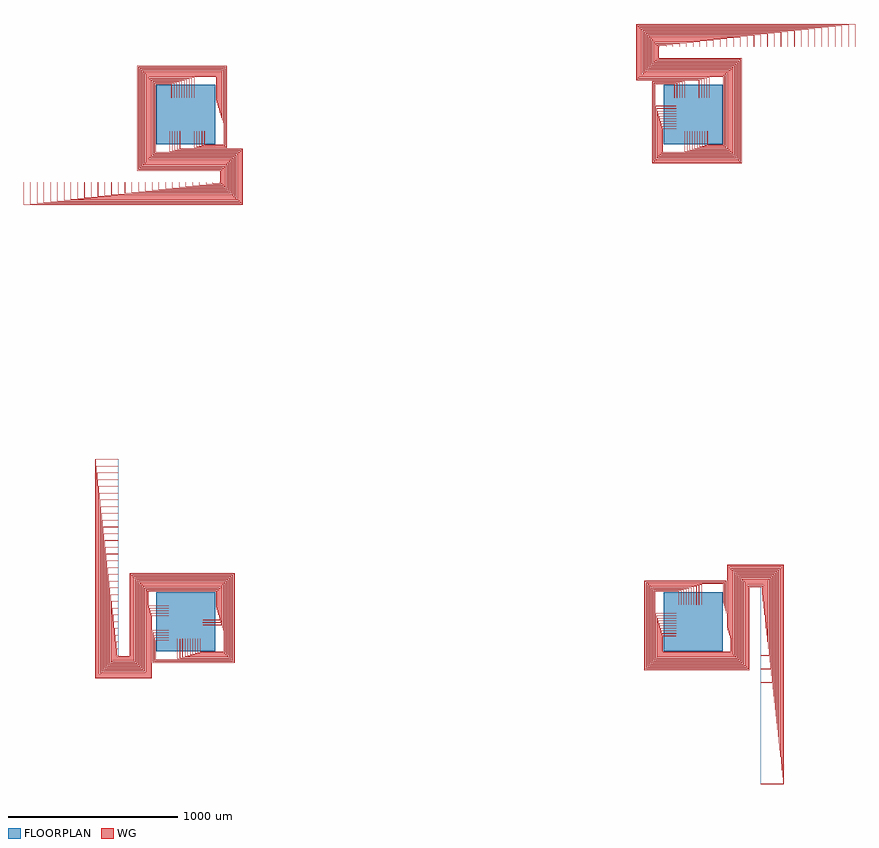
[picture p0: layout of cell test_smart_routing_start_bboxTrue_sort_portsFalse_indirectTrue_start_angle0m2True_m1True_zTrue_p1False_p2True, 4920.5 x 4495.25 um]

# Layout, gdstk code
import gdstk
lib = gdstk.Library(unit=1e-6, precision=1e-09)
def R(c, l, rs):  # rectangles x0, y0, x1, y1
    for r in rs: c.add(gdstk.rectangle(r[:2], r[2:], *l))
def P(c, l, *ps):  # polygons
    for p in ps: c.add(gdstk.Polygon(p, *l))
WG = (1, 0)
FLOORPLAN = (10, 0)

test_smart_routing_start = lib.new_cell('test_smart_routing_start_bboxTrue_sort_portsFalse_indirectTrue_start_angle0m2True_m1True_zTrue_p1False_p2True')
P(test_smart_routing_start, WG, [(2757.5,2712.5),(2757.5,3197.5),(2950.25,3197.5),(2950.25,3100),(2949.75,3100),(2949.75,3197),(2758,3197),(2758,2713),(3287,2713),(3287,3332),(2795.25,3332),(2795.25,3404.5),(2800.25,3404.5),(2800.25,3400),(2799.75,3400),(2799.75,3404),(2795.75,3404),(2795.75,3332.5),(3287.5,3332.5),(3287.5,2712.5)],
  [(2762,2717),(2762,3193),(2935.25,3193),(2935.25,3100),(2934.75,3100),(2934.75,3192.5),(2762.5,3192.5),(2762.5,2717.5),(3282.5,2717.5),(3282.5,3327.5),(2790.75,3327.5),(2790.75,3409),(2840.25,3409),(2840.25,3400),(2839.75,3400),(2839.75,3408.5),(2791.25,3408.5),(2791.25,3328),(3283,3328),(3283,2717)],
  [(2766.5,2721.5),(2766.5,3188.5),(2920.25,3188.5),(2920.25,3100),(2919.75,3100),(2919.75,3188),(2767,3188),(2767,2722),(3278,2722),(3278,3323),(2786.25,3323),(2786.25,3413.5),(2880.25,3413.5),(2880.25,3400),(2879.75,3400),(2879.75,3413),(2786.75,3413),(2786.75,3323.5),(3278.5,3323.5),(3278.5,2721.5)],
  [(2771,2726),(2771,3184),(2905.25,3184),(2905.25,3100),(2904.75,3100),(2904.75,3183.5),(2771.5,3183.5),(2771.5,2726.5),(3273.5,2726.5),(3273.5,3318.5),(2781.75,3318.5),(2781.75,3418),(2920.25,3418),(2920.25,3400),(2919.75,3400),(2919.75,3417.5),(2782.25,3417.5),(2782.25,3319),(3274,3319),(3274,2726)],
  [(2775.5,2730.5),(2775.5,3179.5),(2890.25,3179.5),(2890.25,3100),(2889.75,3100),(2889.75,3179),(2776,3179),(2776,2731),(3269,2731),(3269,3314),(2777.25,3314),(2777.25,3422.5),(2960.25,3422.5),(2960.25,3400),(2959.75,3400),(2959.75,3422),(2777.75,3422),(2777.75,3314.5),(3269.5,3314.5),(3269.5,2730.5)],
  [(2780,2735),(2780,3050.25),(2900,3050.25),(2900,3049.75),(2780.5,3049.75),(2780.5,2735.5),(3264.5,2735.5),(3264.5,3309.5),(2772.75,3309.5),(2772.75,3427),(3000.25,3427),(3000.25,3400),(2999.75,3400),(2999.75,3426.5),(2773.25,3426.5),(2773.25,3310),(3265,3310),(3265,2735)],
  [(2784.5,2739.5),(2784.5,3035.25),(2900,3035.25),(2900,3034.75),(2785,3034.75),(2785,2740),(3260,2740),(3260,3305),(2768.25,3305),(2768.25,3431.5),(3040.25,3431.5),(3040.25,3400),(3039.75,3400),(3039.75,3431),(2768.75,3431),(2768.75,3305.5),(3260.5,3305.5),(3260.5,2739.5)],
  [(2789,2744),(2789,3020.25),(2900,3020.25),(2900,3019.75),(2789.5,3019.75),(2789.5,2744.5),(3255.5,2744.5),(3255.5,3300.5),(2763.75,3300.5),(2763.75,3436),(3080.25,3436),(3080.25,3400),(3079.75,3400),(3079.75,3435.5),(2764.25,3435.5),(2764.25,3301),(3256,3301),(3256,2744)],
  [(2793.5,2748.5),(2793.5,3005.25),(2900,3005.25),(2900,3004.75),(2794,3004.75),(2794,2749),(3251,2749),(3251,3296),(2759.25,3296),(2759.25,3440.5),(3120.25,3440.5),(3120.25,3400),(3119.75,3400),(3119.75,3440),(2759.75,3440),(2759.75,3296.5),(3251.5,3296.5),(3251.5,2748.5)],
  [(2798,2753),(2798,2990.25),(2900,2990.25),(2900,2989.75),(2798.5,2989.75),(2798.5,2753.5),(3246.5,2753.5),(3246.5,3291.5),(2754.75,3291.5),(2754.75,3445),(3160.25,3445),(3160.25,3400),(3159.75,3400),(3159.75,3444.5),(2755.25,3444.5),(2755.25,3292),(3247,3292),(3247,2753)],
  [(2802.5,2757.5),(2802.5,2975.25),(2900,2975.25),(2900,2974.75),(2803,2974.75),(2803,2758),(3242,2758),(3242,3287),(2750.25,3287),(2750.25,3449.5),(3200.25,3449.5),(3200.25,3400),(3199.75,3400),(3199.75,3449),(2750.75,3449),(2750.75,3287.5),(3242.5,3287.5),(3242.5,2757.5)],
  [(2807,2762),(2807,2960.25),(2900,2960.25),(2900,2959.75),(2807.5,2959.75),(2807.5,2762.5),(3237.5,2762.5),(3237.5,3282.5),(2745.75,3282.5),(2745.75,3454),(3240.25,3454),(3240.25,3400),(3239.75,3400),(3239.75,3453.5),(2746.25,3453.5),(2746.25,3283),(3238,3283),(3238,2762)],
  [(2811.5,2766.5),(2811.5,2945.25),(2900,2945.25),(2900,2944.75),(2812,2944.75),(2812,2767),(3233,2767),(3233,3278),(2741.25,3278),(2741.25,3458.5),(3280.25,3458.5),(3280.25,3400),(3279.75,3400),(3279.75,3458),(2741.75,3458),(2741.75,3278.5),(3233.5,3278.5),(3233.5,2766.5)],
  [(2816,2771),(2816,2930.25),(2900,2930.25),(2900,2929.75),(2816.5,2929.75),(2816.5,2771.5),(3228.5,2771.5),(3228.5,3273.5),(2736.75,3273.5),(2736.75,3463),(3320.25,3463),(3320.25,3400),(3319.75,3400),(3319.75,3462.5),(2737.25,3462.5),(2737.25,3274),(3229,3274),(3229,2771)],
  [(2820.5,2775.5),(2820.5,2915.25),(2900,2915.25),(2900,2914.75),(2821,2914.75),(2821,2776),(3224,2776),(3224,3269),(2732.25,3269),(2732.25,3467.5),(3360.25,3467.5),(3360.25,3400),(3359.75,3400),(3359.75,3467),(2732.75,3467),(2732.75,3269.5),(3224.5,3269.5),(3224.5,2775.5)],
  [(2949.75,2780),(2949.75,2900),(2950.25,2900),(2950.25,2780.5),(3219.5,2780.5),(3219.5,3264.5),(2727.75,3264.5),(2727.75,3472),(3400.25,3472),(3400.25,3400),(3399.75,3400),(3399.75,3471.5),(2728.25,3471.5),(2728.25,3265),(3220,3265),(3220,2780)],
  [(2964.75,2784.5),(2964.75,2900),(2965.25,2900),(2965.25,2785),(3215,2785),(3215,3260),(2723.25,3260),(2723.25,3476.5),(3440.25,3476.5),(3440.25,3400),(3439.75,3400),(3439.75,3476),(2723.75,3476),(2723.75,3260.5),(3215.5,3260.5),(3215.5,2784.5)],
  [(2979.75,2789),(2979.75,2900),(2980.25,2900),(2980.25,2789.5),(3210.5,2789.5),(3210.5,3255.5),(2718.75,3255.5),(2718.75,3481),(3480.25,3481),(3480.25,3400),(3479.75,3400),(3479.75,3480.5),(2719.25,3480.5),(2719.25,3256),(3211,3256),(3211,2789)],
  [(2994.75,2793.5),(2994.75,2900),(2995.25,2900),(2995.25,2794),(3206,2794),(3206,3251),(2714.25,3251),(2714.25,3485.5),(3520.25,3485.5),(3520.25,3400),(3519.75,3400),(3519.75,3485),(2714.75,3485),(2714.75,3251.5),(3206.5,3251.5),(3206.5,2793.5)],
  [(3009.75,2798),(3009.75,2900),(3010.25,2900),(3010.25,2798.5),(3201.5,2798.5),(3201.5,3246.5),(2709.75,3246.5),(2709.75,3490),(3560.25,3490),(3560.25,3400),(3559.75,3400),(3559.75,3489.5),(2710.25,3489.5),(2710.25,3247),(3202,3247),(3202,2798)],
  [(3024.75,2802.5),(3024.75,2900),(3025.25,2900),(3025.25,2803),(3197,2803),(3197,3242),(2705.25,3242),(2705.25,3494.5),(3600.25,3494.5),(3600.25,3400),(3599.75,3400),(3599.75,3494),(2705.75,3494),(2705.75,3242.5),(3197.5,3242.5),(3197.5,2802.5)],
  [(3039.75,2807),(3039.75,2900),(3040.25,2900),(3040.25,2807.5),(3192.5,2807.5),(3192.5,3237.5),(2700.75,3237.5),(2700.75,3499),(3640.25,3499),(3640.25,3400),(3639.75,3400),(3639.75,3498.5),(2701.25,3498.5),(2701.25,3238),(3193,3238),(3193,2807)],
  [(3054.75,2811.5),(3054.75,2900),(3055.25,2900),(3055.25,2812),(3188,2812),(3188,3233),(2696.25,3233),(2696.25,3503.5),(3680.25,3503.5),(3680.25,3400),(3679.75,3400),(3679.75,3503),(2696.75,3503),(2696.75,3233.5),(3188.5,3233.5),(3188.5,2811.5)],
  [(3069.75,2816),(3069.75,2900),(3070.25,2900),(3070.25,2816.5),(3183.5,2816.5),(3183.5,3228.5),(2691.75,3228.5),(2691.75,3508),(3720.25,3508),(3720.25,3400),(3719.75,3400),(3719.75,3507.5),(2692.25,3507.5),(2692.25,3229),(3184,3229),(3184,2816)],
  [(3084.75,2820.5),(3084.75,2900),(3085.25,2900),(3085.25,2821),(3179,2821),(3179,3224),(2687.25,3224),(2687.25,3512.5),(3760.25,3512.5),(3760.25,3400),(3759.75,3400),(3759.75,3512),(2687.75,3512),(2687.75,3224.5),(3179.5,3224.5),(3179.5,2820.5)],
  [(3034.75,3100),(3034.75,3201.5),(2664.75,3201.5),(2664.75,3535),(3960.25,3535),(3960.25,3400),(3959.75,3400),(3959.75,3534.5),(2665.25,3534.5),(2665.25,3202),(3035.25,3202),(3035.25,3100)],
  [(3049.75,3100),(3049.75,3206),(2669.25,3206),(2669.25,3530.5),(3920.25,3530.5),(3920.25,3400),(3919.75,3400),(3919.75,3530),(2669.75,3530),(2669.75,3206.5),(3050.25,3206.5),(3050.25,3100)],
  [(3064.75,3100),(3064.75,3210.5),(2673.75,3210.5),(2673.75,3526),(3880.25,3526),(3880.25,3400),(3879.75,3400),(3879.75,3525.5),(2674.25,3525.5),(2674.25,3211),(3065.25,3211),(3065.25,3100)],
  [(3079.75,3100),(3079.75,3215),(2678.25,3215),(2678.25,3521.5),(3840.25,3521.5),(3840.25,3400),(3839.75,3400),(3839.75,3521),(2678.75,3521),(2678.75,3215.5),(3080.25,3215.5),(3080.25,3100)],
  [(3094.75,3100),(3094.75,3219.5),(2682.75,3219.5),(2682.75,3517),(3800.25,3517),(3800.25,3400),(3799.75,3400),(3799.75,3516.5),(2683.25,3516.5),(2683.25,3220),(3095.25,3220),(3095.25,3100)],
  [(199.75,2595.5),(199.75,2600),(200.25,2600),(200.25,2596),(204.25,2596),(204.25,2667.5),(-287.5,2667.5),(-287.5,3287.5),(242.5,3287.5),(242.5,2802.5),(49.75,2802.5),(49.75,2900),(50.25,2900),(50.25,2803),(242,2803),(242,3287),(-287,3287),(-287,2668),(204.75,2668),(204.75,2595.5)],
  [(159.75,2591),(159.75,2600),(160.25,2600),(160.25,2591.5),(208.75,2591.5),(208.75,2672),(-283,2672),(-283,3283),(238,3283),(238,2807),(64.75,2807),(64.75,2900),(65.25,2900),(65.25,2807.5),(237.5,2807.5),(237.5,3282.5),(-282.5,3282.5),(-282.5,2672.5),(209.25,2672.5),(209.25,2591)],
  [(119.75,2586.5),(119.75,2600),(120.25,2600),(120.25,2587),(213.25,2587),(213.25,2676.5),(-278.5,2676.5),(-278.5,3278.5),(233.5,3278.5),(233.5,2811.5),(79.75,2811.5),(79.75,2900),(80.25,2900),(80.25,2812),(233,2812),(233,3278),(-278,3278),(-278,2677),(213.75,2677),(213.75,2586.5)],
  [(79.75,2582),(79.75,2600),(80.25,2600),(80.25,2582.5),(217.75,2582.5),(217.75,2681),(-274,2681),(-274,3274),(229,3274),(229,2816),(94.75,2816),(94.75,2900),(95.25,2900),(95.25,2816.5),(228.5,2816.5),(228.5,3273.5),(-273.5,3273.5),(-273.5,2681.5),(218.25,2681.5),(218.25,2582)],
  [(39.75,2577.5),(39.75,2600),(40.25,2600),(40.25,2578),(222.25,2578),(222.25,2685.5),(-269.5,2685.5),(-269.5,3269.5),(224.5,3269.5),(224.5,2820.5),(109.75,2820.5),(109.75,2900),(110.25,2900),(110.25,2821),(224,2821),(224,3269),(-269,3269),(-269,2686),(222.75,2686),(222.75,2577.5)],
  [(-0.25,2573),(-0.25,2600),(0.25,2600),(0.25,2573.5),(226.75,2573.5),(226.75,2690),(-265,2690),(-265,3265),(220,3265),(220,2949.75),(100,2949.75),(100,2950.25),(219.5,2950.25),(219.5,3264.5),(-264.5,3264.5),(-264.5,2690.5),(227.25,2690.5),(227.25,2573)],
  [(-40.25,2568.5),(-40.25,2600),(-39.75,2600),(-39.75,2569),(231.25,2569),(231.25,2694.5),(-260.5,2694.5),(-260.5,3260.5),(215.5,3260.5),(215.5,2964.75),(100,2964.75),(100,2965.25),(215,2965.25),(215,3260),(-260,3260),(-260,2695),(231.75,2695),(231.75,2568.5)],
  [(-80.25,2564),(-80.25,2600),(-79.75,2600),(-79.75,2564.5),(235.75,2564.5),(235.75,2699),(-256,2699),(-256,3256),(211,3256),(211,2979.75),(100,2979.75),(100,2980.25),(210.5,2980.25),(210.5,3255.5),(-255.5,3255.5),(-255.5,2699.5),(236.25,2699.5),(236.25,2564)],
  [(-120.25,2559.5),(-120.25,2600),(-119.75,2600),(-119.75,2560),(240.25,2560),(240.25,2703.5),(-251.5,2703.5),(-251.5,3251.5),(206.5,3251.5),(206.5,2994.75),(100,2994.75),(100,2995.25),(206,2995.25),(206,3251),(-251,3251),(-251,2704),(240.75,2704),(240.75,2559.5)],
  [(-160.25,2555),(-160.25,2600),(-159.75,2600),(-159.75,2555.5),(244.75,2555.5),(244.75,2708),(-247,2708),(-247,3247),(202,3247),(202,3009.75),(100,3009.75),(100,3010.25),(201.5,3010.25),(201.5,3246.5),(-246.5,3246.5),(-246.5,2708.5),(245.25,2708.5),(245.25,2555)],
  [(-200.25,2550.5),(-200.25,2600),(-199.75,2600),(-199.75,2551),(249.25,2551),(249.25,2712.5),(-242.5,2712.5),(-242.5,3242.5),(197.5,3242.5),(197.5,3024.75),(100,3024.75),(100,3025.25),(197,3025.25),(197,3242),(-242,3242),(-242,2713),(249.75,2713),(249.75,2550.5)],
  [(-240.25,2546),(-240.25,2600),(-239.75,2600),(-239.75,2546.5),(253.75,2546.5),(253.75,2717),(-238,2717),(-238,3238),(193,3238),(193,3039.75),(100,3039.75),(100,3040.25),(192.5,3040.25),(192.5,3237.5),(-237.5,3237.5),(-237.5,2717.5),(254.25,2717.5),(254.25,2546)],
  [(-280.25,2541.5),(-280.25,2600),(-279.75,2600),(-279.75,2542),(258.25,2542),(258.25,2721.5),(-233.5,2721.5),(-233.5,3233.5),(188.5,3233.5),(188.5,3054.75),(100,3054.75),(100,3055.25),(188,3055.25),(188,3233),(-233,3233),(-233,2722),(258.75,2722),(258.75,2541.5)],
  [(-320.25,2537),(-320.25,2600),(-319.75,2600),(-319.75,2537.5),(262.75,2537.5),(262.75,2726),(-229,2726),(-229,3229),(184,3229),(184,3069.75),(100,3069.75),(100,3070.25),(183.5,3070.25),(183.5,3228.5),(-228.5,3228.5),(-228.5,2726.5),(263.25,2726.5),(263.25,2537)],
  [(-360.25,2532.5),(-360.25,2600),(-359.75,2600),(-359.75,2533),(267.25,2533),(267.25,2730.5),(-224.5,2730.5),(-224.5,3224.5),(179.5,3224.5),(179.5,3084.75),(100,3084.75),(100,3085.25),(179,3085.25),(179,3224),(-224,3224),(-224,2731),(267.75,2731),(267.75,2532.5)],
  [(-400.25,2528),(-400.25,2600),(-399.75,2600),(-399.75,2528.5),(271.75,2528.5),(271.75,2735),(-220,2735),(-220,3220),(50.25,3220),(50.25,3100),(49.75,3100),(49.75,3219.5),(-219.5,3219.5),(-219.5,2735.5),(272.25,2735.5),(272.25,2528)],
  [(-440.25,2523.5),(-440.25,2600),(-439.75,2600),(-439.75,2524),(276.25,2524),(276.25,2739.5),(-215.5,2739.5),(-215.5,3215.5),(35.25,3215.5),(35.25,3100),(34.75,3100),(34.75,3215),(-215,3215),(-215,2740),(276.75,2740),(276.75,2523.5)],
  [(-480.25,2519),(-480.25,2600),(-479.75,2600),(-479.75,2519.5),(280.75,2519.5),(280.75,2744),(-211,2744),(-211,3211),(20.25,3211),(20.25,3100),(19.75,3100),(19.75,3210.5),(-210.5,3210.5),(-210.5,2744.5),(281.25,2744.5),(281.25,2519)],
  [(-520.25,2514.5),(-520.25,2600),(-519.75,2600),(-519.75,2515),(285.25,2515),(285.25,2748.5),(-206.5,2748.5),(-206.5,3206.5),(5.25,3206.5),(5.25,3100),(4.75,3100),(4.75,3206),(-206,3206),(-206,2749),(285.75,2749),(285.75,2514.5)],
  [(-560.25,2510),(-560.25,2600),(-559.75,2600),(-559.75,2510.5),(289.75,2510.5),(289.75,2753),(-202,2753),(-202,3202),(-9.75,3202),(-9.75,3100),(-10.25,3100),(-10.25,3201.5),(-201.5,3201.5),(-201.5,2753.5),(290.25,2753.5),(290.25,2510)],
  [(-600.25,2505.5),(-600.25,2600),(-599.75,2600),(-599.75,2506),(294.25,2506),(294.25,2757.5),(-197.5,2757.5),(-197.5,3197.5),(-24.75,3197.5),(-24.75,3100),(-25.25,3100),(-25.25,3197),(-197,3197),(-197,2758),(294.75,2758),(294.75,2505.5)],
  [(-640.25,2501),(-640.25,2600),(-639.75,2600),(-639.75,2501.5),(298.75,2501.5),(298.75,2762),(-193,2762),(-193,3193),(-39.75,3193),(-39.75,3100),(-40.25,3100),(-40.25,3192.5),(-192.5,3192.5),(-192.5,2762.5),(299.25,2762.5),(299.25,2501)],
  [(-680.25,2496.5),(-680.25,2600),(-679.75,2600),(-679.75,2497),(303.25,2497),(303.25,2766.5),(-188.5,2766.5),(-188.5,3188.5),(-54.75,3188.5),(-54.75,3100),(-55.25,3100),(-55.25,3188),(-188,3188),(-188,2767),(303.75,2767),(303.75,2496.5)],
  [(-720.25,2492),(-720.25,2600),(-719.75,2600),(-719.75,2492.5),(307.75,2492.5),(307.75,2771),(-184,2771),(-184,3184),(-69.75,3184),(-69.75,3100),(-70.25,3100),(-70.25,3183.5),(-183.5,3183.5),(-183.5,2771.5),(308.25,2771.5),(308.25,2492)],
  [(-760.25,2487.5),(-760.25,2600),(-759.75,2600),(-759.75,2488),(312.25,2488),(312.25,2775.5),(-179.5,2775.5),(-179.5,3179.5),(-84.75,3179.5),(-84.75,3100),(-85.25,3100),(-85.25,3179),(-179,3179),(-179,2776),(312.75,2776),(312.75,2487.5)],
  [(-960.25,2465),(-960.25,2600),(-959.75,2600),(-959.75,2465.5),(334.75,2465.5),(334.75,2798),(-35.25,2798),(-35.25,2900),(-34.75,2900),(-34.75,2798.5),(335.25,2798.5),(335.25,2465)],
  [(-920.25,2469.5),(-920.25,2600),(-919.75,2600),(-919.75,2470),(330.25,2470),(330.25,2793.5),(-50.25,2793.5),(-50.25,2900),(-49.75,2900),(-49.75,2794),(330.75,2794),(330.75,2469.5)],
  [(-880.25,2474),(-880.25,2600),(-879.75,2600),(-879.75,2474.5),(325.75,2474.5),(325.75,2789),(-65.25,2789),(-65.25,2900),(-64.75,2900),(-64.75,2789.5),(326.25,2789.5),(326.25,2474)],
  [(-840.25,2478.5),(-840.25,2600),(-839.75,2600),(-839.75,2479),(321.25,2479),(321.25,2784.5),(-80.25,2784.5),(-80.25,2900),(-79.75,2900),(-79.75,2785),(321.75,2785),(321.75,2478.5)],
  [(-800.25,2483),(-800.25,2600),(-799.75,2600),(-799.75,2483.5),(316.75,2483.5),(316.75,2780),(-95.25,2780),(-95.25,2900),(-94.75,2900),(-94.75,2780.5),(317.25,2780.5),(317.25,2483)],
  [(-197.5,-242.5),(-197.5,-49.75),(-100,-49.75),(-100,-50.25),(-197,-50.25),(-197,-242),(287,-242),(287,287),(-332,287),(-332,-204.75),(-404.5,-204.75),(-404.5,-199.75),(-400,-199.75),(-400,-200.25),(-404,-200.25),(-404,-204.25),(-332.5,-204.25),(-332.5,287.5),(287.5,287.5),(287.5,-242.5)],
  [(-193,-238),(-193,-64.75),(-100,-64.75),(-100,-65.25),(-192.5,-65.25),(-192.5,-237.5),(282.5,-237.5),(282.5,282.5),(-327.5,282.5),(-327.5,-209.25),(-409,-209.25),(-409,-159.75),(-400,-159.75),(-400,-160.25),(-408.5,-160.25),(-408.5,-208.75),(-328,-208.75),(-328,283),(283,283),(283,-238)],
  [(-188.5,-233.5),(-188.5,-79.75),(-100,-79.75),(-100,-80.25),(-188,-80.25),(-188,-233),(278,-233),(278,278),(-323,278),(-323,-213.75),(-413.5,-213.75),(-413.5,-119.75),(-400,-119.75),(-400,-120.25),(-413,-120.25),(-413,-213.25),(-323.5,-213.25),(-323.5,278.5),(278.5,278.5),(278.5,-233.5)],
  [(-184,-229),(-184,-94.75),(-100,-94.75),(-100,-95.25),(-183.5,-95.25),(-183.5,-228.5),(273.5,-228.5),(273.5,273.5),(-318.5,273.5),(-318.5,-218.25),(-418,-218.25),(-418,-79.75),(-400,-79.75),(-400,-80.25),(-417.5,-80.25),(-417.5,-217.75),(-319,-217.75),(-319,274),(274,274),(274,-229)],
  [(-179.5,-224.5),(-179.5,-109.75),(-100,-109.75),(-100,-110.25),(-179,-110.25),(-179,-224),(269,-224),(269,269),(-314,269),(-314,-222.75),(-422.5,-222.75),(-422.5,-39.75),(-400,-39.75),(-400,-40.25),(-422,-40.25),(-422,-222.25),(-314.5,-222.25),(-314.5,269.5),(269.5,269.5),(269.5,-224.5)],
  [(-427,-227.25),(-427,0.25),(-400,0.25),(-400,-0.25),(-426.5,-0.25),(-426.5,-226.75),(-310,-226.75),(-310,265),(265,265),(265,-220),(-50.25,-220),(-50.25,-100),(-49.75,-100),(-49.75,-219.5),(264.5,-219.5),(264.5,264.5),(-309.5,264.5),(-309.5,-227.25)],
  [(-431.5,-231.75),(-431.5,40.25),(-400,40.25),(-400,39.75),(-431,39.75),(-431,-231.25),(-305.5,-231.25),(-305.5,260.5),(260.5,260.5),(260.5,-215.5),(-35.25,-215.5),(-35.25,-100),(-34.75,-100),(-34.75,-215),(260,-215),(260,260),(-305,260),(-305,-231.75)],
  [(-436,-236.25),(-436,80.25),(-400,80.25),(-400,79.75),(-435.5,79.75),(-435.5,-235.75),(-301,-235.75),(-301,256),(256,256),(256,-211),(-20.25,-211),(-20.25,-100),(-19.75,-100),(-19.75,-210.5),(255.5,-210.5),(255.5,255.5),(-300.5,255.5),(-300.5,-236.25)],
  [(-440.5,-240.75),(-440.5,120.25),(-400,120.25),(-400,119.75),(-440,119.75),(-440,-240.25),(-296.5,-240.25),(-296.5,251.5),(251.5,251.5),(251.5,-206.5),(-5.25,-206.5),(-5.25,-100),(-4.75,-100),(-4.75,-206),(251,-206),(251,251),(-296,251),(-296,-240.75)],
  [(-445,-245.25),(-445,160.25),(-400,160.25),(-400,159.75),(-444.5,159.75),(-444.5,-244.75),(-292,-244.75),(-292,247),(247,247),(247,-202),(9.75,-202),(9.75,-100),(10.25,-100),(10.25,-201.5),(246.5,-201.5),(246.5,246.5),(-291.5,246.5),(-291.5,-245.25)],
  [(-449.5,-249.75),(-449.5,200.25),(-400,200.25),(-400,199.75),(-449,199.75),(-449,-249.25),(-287.5,-249.25),(-287.5,242.5),(242.5,242.5),(242.5,-197.5),(24.75,-197.5),(24.75,-100),(25.25,-100),(25.25,-197),(242,-197),(242,242),(-287,242),(-287,-249.75)],
  [(-454,-254.25),(-454,240.25),(-400,240.25),(-400,239.75),(-453.5,239.75),(-453.5,-253.75),(-283,-253.75),(-283,238),(238,238),(238,-193),(39.75,-193),(39.75,-100),(40.25,-100),(40.25,-192.5),(237.5,-192.5),(237.5,237.5),(-282.5,237.5),(-282.5,-254.25)],
  [(-458.5,-258.75),(-458.5,280.25),(-400,280.25),(-400,279.75),(-458,279.75),(-458,-258.25),(-278.5,-258.25),(-278.5,233.5),(233.5,233.5),(233.5,-188.5),(54.75,-188.5),(54.75,-100),(55.25,-100),(55.25,-188),(233,-188),(233,233),(-278,233),(-278,-258.75)],
  [(-463,-263.25),(-463,320.25),(-400,320.25),(-400,319.75),(-462.5,319.75),(-462.5,-262.75),(-274,-262.75),(-274,229),(229,229),(229,-184),(69.75,-184),(69.75,-100),(70.25,-100),(70.25,-183.5),(228.5,-183.5),(228.5,228.5),(-273.5,228.5),(-273.5,-263.25)],
  [(-467.5,-267.75),(-467.5,360.25),(-400,360.25),(-400,359.75),(-467,359.75),(-467,-267.25),(-269.5,-267.25),(-269.5,224.5),(224.5,224.5),(224.5,-179.5),(84.75,-179.5),(84.75,-100),(85.25,-100),(85.25,-179),(224,-179),(224,224),(-269,224),(-269,-267.75)],
  [(-472,-272.25),(-472,400.25),(-400,400.25),(-400,399.75),(-471.5,399.75),(-471.5,-271.75),(-265,-271.75),(-265,220),(220,220),(220,-50.25),(100,-50.25),(100,-49.75),(219.5,-49.75),(219.5,219.5),(-264.5,219.5),(-264.5,-272.25)],
  [(-476.5,-276.75),(-476.5,440.25),(-400,440.25),(-400,439.75),(-476,439.75),(-476,-276.25),(-260.5,-276.25),(-260.5,215.5),(215.5,215.5),(215.5,-35.25),(100,-35.25),(100,-34.75),(215,-34.75),(215,215),(-260,215),(-260,-276.75)],
  [(-481,-281.25),(-481,480.25),(-400,480.25),(-400,479.75),(-480.5,479.75),(-480.5,-280.75),(-256,-280.75),(-256,211),(211,211),(211,-20.25),(100,-20.25),(100,-19.75),(210.5,-19.75),(210.5,210.5),(-255.5,210.5),(-255.5,-281.25)],
  [(-485.5,-285.75),(-485.5,520.25),(-400,520.25),(-400,519.75),(-485,519.75),(-485,-285.25),(-251.5,-285.25),(-251.5,206.5),(206.5,206.5),(206.5,-5.25),(100,-5.25),(100,-4.75),(206,-4.75),(206,206),(-251,206),(-251,-285.75)],
  [(-490,-290.25),(-490,560.25),(-400,560.25),(-400,559.75),(-489.5,559.75),(-489.5,-289.75),(-247,-289.75),(-247,202),(202,202),(202,9.75),(100,9.75),(100,10.25),(201.5,10.25),(201.5,201.5),(-246.5,201.5),(-246.5,-290.25)],
  [(-494.5,-294.75),(-494.5,600.25),(-400,600.25),(-400,599.75),(-494,599.75),(-494,-294.25),(-242.5,-294.25),(-242.5,197.5),(197.5,197.5),(197.5,24.75),(100,24.75),(100,25.25),(197,25.25),(197,197),(-242,197),(-242,-294.75)],
  [(-499,-299.25),(-499,640.25),(-400,640.25),(-400,639.75),(-498.5,639.75),(-498.5,-298.75),(-238,-298.75),(-238,193),(193,193),(193,39.75),(100,39.75),(100,40.25),(192.5,40.25),(192.5,192.5),(-237.5,192.5),(-237.5,-299.25)],
  [(-503.5,-303.75),(-503.5,680.25),(-400,680.25),(-400,679.75),(-503,679.75),(-503,-303.25),(-233.5,-303.25),(-233.5,188.5),(188.5,188.5),(188.5,54.75),(100,54.75),(100,55.25),(188,55.25),(188,188),(-233,188),(-233,-303.75)],
  [(-508,-308.25),(-508,720.25),(-400,720.25),(-400,719.75),(-507.5,719.75),(-507.5,-307.75),(-229,-307.75),(-229,184),(184,184),(184,69.75),(100,69.75),(100,70.25),(183.5,70.25),(183.5,183.5),(-228.5,183.5),(-228.5,-308.25)],
  [(-512.5,-312.75),(-512.5,760.25),(-400,760.25),(-400,759.75),(-512,759.75),(-512,-312.25),(-224.5,-312.25),(-224.5,179.5),(179.5,179.5),(179.5,84.75),(100,84.75),(100,85.25),(179,85.25),(179,179),(-224,179),(-224,-312.75)],
  [(-535,-335.25),(-535,960.25),(-400,960.25),(-400,959.75),(-534.5,959.75),(-534.5,-334.75),(-202,-334.75),(-202,35.25),(-100,35.25),(-100,34.75),(-201.5,34.75),(-201.5,-335.25)],
  [(-530.5,-330.75),(-530.5,920.25),(-400,920.25),(-400,919.75),(-530,919.75),(-530,-330.25),(-206.5,-330.25),(-206.5,50.25),(-100,50.25),(-100,49.75),(-206,49.75),(-206,-330.75)],
  [(-526,-326.25),(-526,880.25),(-400,880.25),(-400,879.75),(-525.5,879.75),(-525.5,-325.75),(-211,-325.75),(-211,65.25),(-100,65.25),(-100,64.75),(-210.5,64.75),(-210.5,-326.25)],
  [(-521.5,-321.75),(-521.5,840.25),(-400,840.25),(-400,839.75),(-521,839.75),(-521,-321.25),(-215.5,-321.25),(-215.5,80.25),(-100,80.25),(-100,79.75),(-215,79.75),(-215,-321.75)],
  [(-517,-317.25),(-517,800.25),(-400,800.25),(-400,799.75),(-516.5,799.75),(-516.5,-316.75),(-220,-316.75),(-220,95.25),(-100,95.25),(-100,94.75),(-219.5,94.75),(-219.5,-317.25)],
  [(2712.5,-287.5),(2712.5,242.5),(3197.5,242.5),(3197.5,49.75),(3100,49.75),(3100,50.25),(3197,50.25),(3197,242),(2713,242),(2713,-287),(3332,-287),(3332,204.75),(3404.5,204.75),(3404.5,199.75),(3400,199.75),(3400,200.25),(3404,200.25),(3404,204.25),(3332.5,204.25),(3332.5,-287.5)],
  [(2717,-283),(2717,238),(3193,238),(3193,64.75),(3100,64.75),(3100,65.25),(3192.5,65.25),(3192.5,237.5),(2717.5,237.5),(2717.5,-282.5),(3327.5,-282.5),(3327.5,209.25),(3409,209.25),(3409,159.75),(3400,159.75),(3400,160.25),(3408.5,160.25),(3408.5,208.75),(3328,208.75),(3328,-283)],
  [(2721.5,-278.5),(2721.5,233.5),(3188.5,233.5),(3188.5,79.75),(3100,79.75),(3100,80.25),(3188,80.25),(3188,233),(2722,233),(2722,-278),(3323,-278),(3323,213.75),(3413.5,213.75),(3413.5,119.75),(3400,119.75),(3400,120.25),(3413,120.25),(3413,213.25),(3323.5,213.25),(3323.5,-278.5)],
  [(2726,-274),(2726,229),(3184,229),(3184,94.75),(3100,94.75),(3100,95.25),(3183.5,95.25),(3183.5,228.5),(2726.5,228.5),(2726.5,-273.5),(3318.5,-273.5),(3318.5,218.25),(3418,218.25),(3418,79.75),(3400,79.75),(3400,80.25),(3417.5,80.25),(3417.5,217.75),(3319,217.75),(3319,-274)],
  [(2730.5,-269.5),(2730.5,224.5),(3179.5,224.5),(3179.5,109.75),(3100,109.75),(3100,110.25),(3179,110.25),(3179,224),(2731,224),(2731,-269),(3314,-269),(3314,222.75),(3422.5,222.75),(3422.5,39.75),(3400,39.75),(3400,40.25),(3422,40.25),(3422,222.25),(3314.5,222.25),(3314.5,-269.5)],
  [(2735,-265),(2735,220),(3050.25,220),(3050.25,100),(3049.75,100),(3049.75,219.5),(2735.5,219.5),(2735.5,-264.5),(3309.5,-264.5),(3309.5,227.25),(3427,227.25),(3427,-0.25),(3400,-0.25),(3400,0.25),(3426.5,0.25),(3426.5,226.75),(3310,226.75),(3310,-265)],
  [(2739.5,-260.5),(2739.5,215.5),(3035.25,215.5),(3035.25,100),(3034.75,100),(3034.75,215),(2740,215),(2740,-260),(3305,-260),(3305,231.75),(3431.5,231.75),(3431.5,-40.25),(3400,-40.25),(3400,-39.75),(3431,-39.75),(3431,231.25),(3305.5,231.25),(3305.5,-260.5)],
  [(2744,-256),(2744,211),(3020.25,211),(3020.25,100),(3019.75,100),(3019.75,210.5),(2744.5,210.5),(2744.5,-255.5),(3300.5,-255.5),(3300.5,236.25),(3436,236.25),(3436,-80.25),(3400,-80.25),(3400,-79.75),(3435.5,-79.75),(3435.5,235.75),(3301,235.75),(3301,-256)],
  [(2748.5,-251.5),(2748.5,206.5),(3005.25,206.5),(3005.25,100),(3004.75,100),(3004.75,206),(2749,206),(2749,-251),(3296,-251),(3296,240.75),(3440.5,240.75),(3440.5,-120.25),(3400,-120.25),(3400,-119.75),(3440,-119.75),(3440,240.25),(3296.5,240.25),(3296.5,-251.5)],
  [(2753,-247),(2753,202),(2990.25,202),(2990.25,100),(2989.75,100),(2989.75,201.5),(2753.5,201.5),(2753.5,-246.5),(3291.5,-246.5),(3291.5,245.25),(3445,245.25),(3445,-160.25),(3400,-160.25),(3400,-159.75),(3444.5,-159.75),(3444.5,244.75),(3292,244.75),(3292,-247)],
  [(2757.5,-242.5),(2757.5,197.5),(2975.25,197.5),(2975.25,100),(2974.75,100),(2974.75,197),(2758,197),(2758,-242),(3287,-242),(3287,249.75),(3449.5,249.75),(3449.5,-200.25),(3400,-200.25),(3400,-199.75),(3449,-199.75),(3449,249.25),(3287.5,249.25),(3287.5,-242.5)],
  [(3400,-240.25),(3400,-239.75),(3453.5,-239.75),(3453.5,253.75),(3283,253.75),(3283,-238),(2762,-238),(2762,193),(2960.25,193),(2960.25,100),(2959.75,100),(2959.75,192.5),(2762.5,192.5),(2762.5,-237.5),(3282.5,-237.5),(3282.5,254.25),(3454,254.25),(3454,-240.25)],
  [(3400,-280.25),(3400,-279.75),(3458,-279.75),(3458,258.25),(3278.5,258.25),(3278.5,-233.5),(2766.5,-233.5),(2766.5,188.5),(2945.25,188.5),(2945.25,100),(2944.75,100),(2944.75,188),(2767,188),(2767,-233),(3278,-233),(3278,258.75),(3458.5,258.75),(3458.5,-280.25)],
  [(3400,-320.25),(3400,-319.75),(3462.5,-319.75),(3462.5,262.75),(3274,262.75),(3274,-229),(2771,-229),(2771,184),(2930.25,184),(2930.25,100),(2929.75,100),(2929.75,183.5),(2771.5,183.5),(2771.5,-228.5),(3273.5,-228.5),(3273.5,263.25),(3463,263.25),(3463,-320.25)],
  [(3400,-360.25),(3400,-359.75),(3467,-359.75),(3467,267.25),(3269.5,267.25),(3269.5,-224.5),(2775.5,-224.5),(2775.5,179.5),(2915.25,179.5),(2915.25,100),(2914.75,100),(2914.75,179),(2776,179),(2776,-224),(3269,-224),(3269,267.75),(3467.5,267.75),(3467.5,-360.25)],
  [(3400,-400.25),(3400,-399.75),(3471.5,-399.75),(3471.5,271.75),(3265,271.75),(3265,-220),(2780,-220),(2780,50.25),(2900,50.25),(2900,49.75),(2780.5,49.75),(2780.5,-219.5),(3264.5,-219.5),(3264.5,272.25),(3472,272.25),(3472,-400.25)],
  [(3400,-440.25),(3400,-439.75),(3476,-439.75),(3476,276.25),(3260.5,276.25),(3260.5,-215.5),(2784.5,-215.5),(2784.5,35.25),(2900,35.25),(2900,34.75),(2785,34.75),(2785,-215),(3260,-215),(3260,276.75),(3476.5,276.75),(3476.5,-440.25)],
  [(3400,-480.25),(3400,-479.75),(3480.5,-479.75),(3480.5,280.75),(3256,280.75),(3256,-211),(2789,-211),(2789,20.25),(2900,20.25),(2900,19.75),(2789.5,19.75),(2789.5,-210.5),(3255.5,-210.5),(3255.5,281.25),(3481,281.25),(3481,-480.25)],
  [(3400,-520.25),(3400,-519.75),(3485,-519.75),(3485,285.25),(3251.5,285.25),(3251.5,-206.5),(2793.5,-206.5),(2793.5,5.25),(2900,5.25),(2900,4.75),(2794,4.75),(2794,-206),(3251,-206),(3251,285.75),(3485.5,285.75),(3485.5,-520.25)],
  [(3400,-560.25),(3400,-559.75),(3489.5,-559.75),(3489.5,289.75),(3247,289.75),(3247,-202),(2798,-202),(2798,-9.75),(2900,-9.75),(2900,-10.25),(2798.5,-10.25),(2798.5,-201.5),(3246.5,-201.5),(3246.5,290.25),(3490,290.25),(3490,-560.25)],
  [(3400,-600.25),(3400,-599.75),(3494,-599.75),(3494,294.25),(3242.5,294.25),(3242.5,-197.5),(2802.5,-197.5),(2802.5,-24.75),(2900,-24.75),(2900,-25.25),(2803,-25.25),(2803,-197),(3242,-197),(3242,294.75),(3494.5,294.75),(3494.5,-600.25)],
  [(3400,-640.25),(3400,-639.75),(3498.5,-639.75),(3498.5,298.75),(3238,298.75),(3238,-193),(2807,-193),(2807,-39.75),(2900,-39.75),(2900,-40.25),(2807.5,-40.25),(2807.5,-192.5),(3237.5,-192.5),(3237.5,299.25),(3499,299.25),(3499,-640.25)],
  [(3400,-680.25),(3400,-679.75),(3503,-679.75),(3503,303.25),(3233.5,303.25),(3233.5,-188.5),(2811.5,-188.5),(2811.5,-54.75),(2900,-54.75),(2900,-55.25),(2812,-55.25),(2812,-188),(3233,-188),(3233,303.75),(3503.5,303.75),(3503.5,-680.25)],
  [(3400,-720.25),(3400,-719.75),(3507.5,-719.75),(3507.5,307.75),(3229,307.75),(3229,-184),(2816,-184),(2816,-69.75),(2900,-69.75),(2900,-70.25),(2816.5,-70.25),(2816.5,-183.5),(3228.5,-183.5),(3228.5,308.25),(3508,308.25),(3508,-720.25)],
  [(3400,-760.25),(3400,-759.75),(3512,-759.75),(3512,312.25),(3224.5,312.25),(3224.5,-179.5),(2820.5,-179.5),(2820.5,-84.75),(2900,-84.75),(2900,-85.25),(2821,-85.25),(2821,-179),(3224,-179),(3224,312.75),(3512.5,312.75),(3512.5,-760.25)],
  [(3400,-960.25),(3400,-959.75),(3534.5,-959.75),(3534.5,334.75),(3202,334.75),(3202,-35.25),(3100,-35.25),(3100,-34.75),(3201.5,-34.75),(3201.5,335.25),(3535,335.25),(3535,-960.25)],
  [(3400,-920.25),(3400,-919.75),(3530,-919.75),(3530,330.25),(3206.5,330.25),(3206.5,-50.25),(3100,-50.25),(3100,-49.75),(3206,-49.75),(3206,330.75),(3530.5,330.75),(3530.5,-920.25)],
  [(3400,-880.25),(3400,-879.75),(3525.5,-879.75),(3525.5,325.75),(3211,325.75),(3211,-65.25),(3100,-65.25),(3100,-64.75),(3210.5,-64.75),(3210.5,326.25),(3526,326.25),(3526,-880.25)],
  [(3400,-840.25),(3400,-839.75),(3521,-839.75),(3521,321.25),(3215.5,321.25),(3215.5,-80.25),(3100,-80.25),(3100,-79.75),(3215,-79.75),(3215,321.75),(3521.5,321.75),(3521.5,-840.25)],
  [(3400,-800.25),(3400,-799.75),(3516.5,-799.75),(3516.5,316.75),(3220,316.75),(3220,-95.25),(3100,-95.25),(3100,-94.75),(3219.5,-94.75),(3219.5,317.25),(3517,317.25),(3517,-800.25)])
R(test_smart_routing_start, FLOORPLAN, [(-175,-175,175,175), (2825,-175,3175,175), (-175,2825,175,3175), (2825,2825,3175,3175)])
P(test_smart_routing_start, FLOORPLAN, [(-400,-200),(-400,960),(-400,960),(-400,-200)],
  [(-960,2600),(-960,2600),(200,2600),(200,2600)],
  [(3400,-960),(3400,200),(3400,200),(3400,-960)],
  [(2800,3400),(2800,3400),(3960,3400),(3960,3400)])

lib.write_gds('test_smart_routing_start_bboxTrue_sort_portsFalse_indirectTrue_start_angle0m2True_m1True_zTrue_p1False_p2True.gds')
